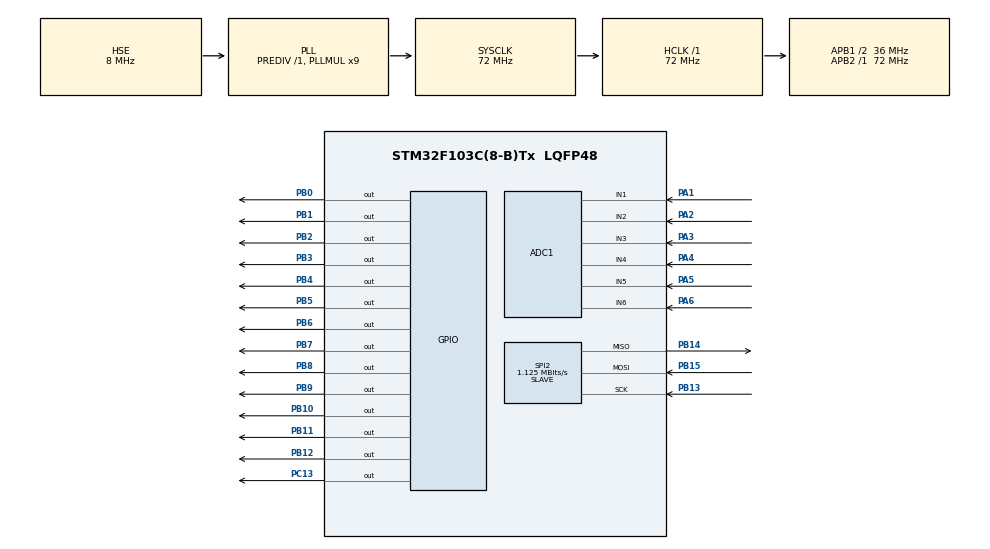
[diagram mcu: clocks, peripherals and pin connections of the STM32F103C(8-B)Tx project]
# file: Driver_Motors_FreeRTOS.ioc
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ADC1.Channel-1\#ChannelRegularConversion=ADC_CHANNEL_1
ADC1.Channel-2\#ChannelRegularConversion=ADC_CHANNEL_2
ADC1.Channel-3\#ChannelRegularConversion=ADC_CHANNEL_3
ADC1.Channel-4\#ChannelRegularConversion=ADC_CHANNEL_4
ADC1.Channel-5\#ChannelRegularConversion=ADC_CHANNEL_5
ADC1.Channel-6\#ChannelRegularConversion=ADC_CHANNEL_6
ADC1.ContinuousConvMode=ENABLE
ADC1.ExternalTrigConv=ADC_SOFTWARE_START
ADC1.NbrOfConversion=6
ADC1.NbrOfConversionFlag=1
ADC1.Rank-1\#ChannelRegularConversion=1
ADC1.Rank-2\#ChannelRegularConversion=2
ADC1.Rank-3\#ChannelRegularConversion=3
ADC1.Rank-4\#ChannelRegularConversion=4
ADC1.Rank-5\#ChannelRegularConversion=5
ADC1.Rank-6\#ChannelRegularConversion=6
ADC1.SamplingTime-1\#ChannelRegularConversion=ADC_SAMPLETIME_71CYCLES_5
ADC1.SamplingTime-2\#ChannelRegularConversion=ADC_SAMPLETIME_71CYCLES_5
ADC1.SamplingTime-3\#ChannelRegularConversion=ADC_SAMPLETIME_71CYCLES_5
ADC1.SamplingTime-4\#ChannelRegularConversion=ADC_SAMPLETIME_71CYCLES_5
ADC1.SamplingTime-5\#ChannelRegularConversion=ADC_SAMPLETIME_71CYCLES_5
ADC1.SamplingTime-6\#ChannelRegularConversion=ADC_SAMPLETIME_71CYCLES_5
ADC1.master=1
Dma.ADC1.0.Direction=DMA_PERIPH_TO_MEMORY
Dma.ADC1.0.Instance=DMA1_Channel1
Dma.ADC1.0.MemDataAlignment=DMA_MDATAALIGN_HALFWORD
Dma.ADC1.0.MemInc=DMA_MINC_ENABLE
Dma.ADC1.0.Mode=DMA_CIRCULAR
Dma.ADC1.0.PeriphDataAlignment=DMA_PDATAALIGN_HALFWORD
Dma.ADC1.0.PeriphInc=DMA_PINC_DISABLE
Dma.ADC1.0.Priority=DMA_PRIORITY_MEDIUM
Dma.Request0=ADC1
FREERTOS.INCLUDE_vTaskDelayUntil=1
FREERTOS.Tasks01=mainTask,0,256,StartHandControllerTask,Default,NULL,Dynamic,NULL,NULL;protocolTask,3,256,StartProtocolTask,Default,NULL,Dynamic,NULL,NULL
FREERTOS.configMINIMAL_STACK_SIZE=256
FREERTOS.configTOTAL_HEAP_SIZE=12000
FREERTOS.configUSE_TIMERS=0
Mcu.Family=STM32F1
Mcu.Name=STM32F103C(8-B)Tx
Mcu.Package=LQFP48
NVIC.DMA1_Channel1_IRQn=true\:5\:0\:false\:false\:true\:false\:false\:true
NVIC.PriorityGroup=NVIC_PRIORITYGROUP_4
NVIC.SPI2_IRQn=true\:5\:0\:true\:false\:true\:false\:true\:true
NVIC.TIM1_UP_IRQn=true\:0\:0\:false\:false\:true\:false\:false\:true
NVIC.TimeBase=TIM1_UP_IRQn
NVIC.TimeBaseIP=TIM1
PA1.Signal=ADCx_IN1
PA13.Mode=Serial_Wire
PA13.Signal=SYS_JTMS-SWDIO
PA14.Mode=Serial_Wire
PA14.Signal=SYS_JTCK-SWCLK
PA2.Signal=ADCx_IN2
PA3.Signal=ADCx_IN3
PA4.Signal=ADCx_IN4
PA5.Signal=ADCx_IN5
PA6.Signal=ADCx_IN6
PB0.GPIO_ModeDefaultOutputPP=GPIO_MODE_OUTPUT_PP
PB0.GPIO_PuPd=GPIO_PULLDOWN
PB0.GPIO_Speed=GPIO_SPEED_FREQ_LOW
PB0.PinState=GPIO_PIN_RESET
PB0.Signal=GPIO_Output
PB1.GPIO_ModeDefaultOutputPP=GPIO_MODE_OUTPUT_PP
PB1.GPIO_PuPd=GPIO_PULLDOWN
PB1.GPIO_Speed=GPIO_SPEED_FREQ_LOW
PB1.PinState=GPIO_PIN_RESET
PB1.Signal=GPIO_Output
PB10.GPIO_ModeDefaultOutputPP=GPIO_MODE_OUTPUT_PP
PB10.GPIO_PuPd=GPIO_PULLDOWN
PB10.GPIO_Speed=GPIO_SPEED_FREQ_LOW
PB10.PinState=GPIO_PIN_RESET
PB10.Signal=GPIO_Output
PB11.GPIO_ModeDefaultOutputPP=GPIO_MODE_OUTPUT_PP
PB11.GPIO_PuPd=GPIO_PULLDOWN
PB11.GPIO_Speed=GPIO_SPEED_FREQ_LOW
PB11.PinState=GPIO_PIN_RESET
PB11.Signal=GPIO_Output
PB12.Signal=GPIO_Output
PB13.GPIO_PuPd=GPIO_PULLDOWN
PB13.Mode=Full_Duplex_Slave
PB13.Signal=SPI2_SCK
PB14.Mode=Full_Duplex_Slave
PB14.Signal=SPI2_MISO
PB15.GPIO_PuPd=GPIO_PULLDOWN
PB15.Mode=Full_Duplex_Slave
PB15.Signal=SPI2_MOSI
PB2.GPIO_ModeDefaultOutputPP=GPIO_MODE_OUTPUT_PP
PB2.GPIO_PuPd=GPIO_PULLDOWN
PB2.GPIO_Speed=GPIO_SPEED_FREQ_LOW
PB2.PinState=GPIO_PIN_RESET
PB2.Signal=GPIO_Output
PB3.GPIO_ModeDefaultOutputPP=GPIO_MODE_OUTPUT_PP
PB3.GPIO_PuPd=GPIO_PULLDOWN
PB3.GPIO_Speed=GPIO_SPEED_FREQ_LOW
PB3.PinState=GPIO_PIN_RESET
PB3.Signal=GPIO_Output
PB4.GPIO_ModeDefaultOutputPP=GPIO_MODE_OUTPUT_PP
PB4.GPIO_PuPd=GPIO_PULLDOWN
PB4.GPIO_Speed=GPIO_SPEED_FREQ_LOW
PB4.PinState=GPIO_PIN_RESET
PB4.Signal=GPIO_Output
PB5.GPIO_ModeDefaultOutputPP=GPIO_MODE_OUTPUT_PP
PB5.GPIO_PuPd=GPIO_PULLDOWN
PB5.GPIO_Speed=GPIO_SPEED_FREQ_LOW
PB5.PinState=GPIO_PIN_RESET
PB5.Signal=GPIO_Output
PB6.GPIO_ModeDefaultOutputPP=GPIO_MODE_OUTPUT_PP
PB6.GPIO_PuPd=GPIO_PULLDOWN
PB6.GPIO_Speed=GPIO_SPEED_FREQ_LOW
PB6.PinState=GPIO_PIN_RESET
PB6.Signal=GPIO_Output
PB7.GPIO_ModeDefaultOutputPP=GPIO_MODE_OUTPUT_PP
PB7.GPIO_PuPd=GPIO_PULLDOWN
PB7.GPIO_Speed=GPIO_SPEED_FREQ_LOW
PB7.PinState=GPIO_PIN_RESET
PB7.Signal=GPIO_Output
PB8.GPIO_ModeDefaultOutputPP=GPIO_MODE_OUTPUT_PP
PB8.GPIO_PuPd=GPIO_PULLDOWN
PB8.GPIO_Speed=GPIO_SPEED_FREQ_LOW
PB8.PinState=GPIO_PIN_RESET
PB8.Signal=GPIO_Output
PB9.GPIO_ModeDefaultOutputPP=GPIO_MODE_OUTPUT_PP
PB9.GPIO_PuPd=GPIO_PULLDOWN
PB9.GPIO_Speed=GPIO_SPEED_FREQ_LOW
PB9.PinState=GPIO_PIN_RESET
PB9.Signal=GPIO_Output
PC13-TAMPER-RTC.Signal=GPIO_Output
PC14-OSC32_IN.Mode=LSE-External-Oscillator
PC14-OSC32_IN.Signal=RCC_OSC32_IN
PC15-OSC32_OUT.Mode=LSE-External-Oscillator
PC15-OSC32_OUT.Signal=RCC_OSC32_OUT
PD0-OSC_IN.Mode=HSE-External-Oscillator
PD0-OSC_IN.Signal=RCC_OSC_IN
PD1-OSC_OUT.Mode=HSE-External-Oscillator
PD1-OSC_OUT.Signal=RCC_OSC_OUT
ProjectManager.HeapSize=0x400
ProjectManager.StackSize=0x600
ProjectManager.TargetToolchain=STM32CubeIDE
RCC.ADCPresc=RCC_ADCPCLK2_DIV6
RCC.AHBFreq_Value=72000000
RCC.APB1CLKDivider=RCC_HCLK_DIV2
RCC.APB1Freq_Value=36000000
RCC.APB1TimFreq_Value=72000000
RCC.APB2Freq_Value=72000000
RCC.APB2TimFreq_Value=72000000
RCC.HCLKFreq_Value=72000000
RCC.PLLMUL=RCC_PLL_MUL9
RCC.PLLSourceVirtual=RCC_PLLSOURCE_HSE
RCC.SYSCLKFreq_VALUE=72000000
RCC.SYSCLKSource=RCC_SYSCLKSOURCE_PLLCLK
RCC.USBFreq_Value=72000000
SH.ADCx_IN1.0=ADC1_IN1,IN1
SH.ADCx_IN2.0=ADC1_IN2,IN2
SH.ADCx_IN3.0=ADC1_IN3,IN3
SH.ADCx_IN4.0=ADC1_IN4,IN4
SH.ADCx_IN5.0=ADC1_IN5,IN5
SH.ADCx_IN6.0=ADC1_IN6,IN6
SPI2.BaudRatePrescaler=SPI_BAUDRATEPRESCALER_32
SPI2.CalculateBaudRate=1.125 MBits/s
SPI2.Direction=SPI_DIRECTION_2LINES
SPI2.Mode=SPI_MODE_SLAVE
SPI2.VirtualType=VM_SLAVE
TIM2.Channel-Output\ Compare2\ No\ Output=TIM_CHANNEL_2
TIM2.Period=9999
TIM2.Prescaler=71
TIM2.Pulse-Output\ Compare2\ No\ Output=9999
VP_FREERTOS_VS_CMSIS_V1.Mode=CMSIS_V1
VP_SYS_VS_tim1.Mode=TIM1
VP_TIM2_VS_no_output2.Mode=Output Compare2 No Output
board=custom

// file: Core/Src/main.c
/* USER CODE BEGIN Header */
/**
  ******************************************************************************
  * @file           : main.c
  * @brief          : Main program body
  ******************************************************************************
  * @attention
  *
  * <h2><center>&copy; Copyright (c) 2020 STMicroelectronics.
  * All rights reserved.</center></h2>
  *
  * This software component is licensed by ST under BSD 3-Clause license,
  * the "License"; You may not use this file except in compliance with the
  * License. You may obtain a copy of the License at:
  *                        opensource.org/licenses/BSD-3-Clause
  *
  ******************************************************************************
  */
/* USER CODE END Header */
#include "main.h"
#include "cmsis_os.h"
#include "adc.h"
#include "dma.h"
#include "spi.h"
#include "tim.h"
#include "gpio.h"

void SystemClock_Config(void);
void MX_FREERTOS_Init(void);

int main(void)
{

  /* MCU Configuration--------------------------------------------------------*/

  /* Reset of all peripherals, Initializes the Flash interface and the Systick. */
  HAL_Init();

  /* Configure the system clock */
  SystemClock_Config();

  /* Initialize all configured peripherals */
  MX_GPIO_Init();
  MX_DMA_Init();
  MX_ADC1_Init();
  MX_SPI2_Init();
  MX_TIM2_Init();

  /* Call init function for freertos objects (in freertos.c) */
  MX_FREERTOS_Init();
  /* Start scheduler */
  osKernelStart();

  /* We should never get here as control is now taken by the scheduler */
  /* Infinite loop */
  while (1)
  {

  }
}

void SystemClock_Config(void)
{
  RCC_OscInitTypeDef RCC_OscInitStruct = {0};
  RCC_ClkInitTypeDef RCC_ClkInitStruct = {0};
  RCC_PeriphCLKInitTypeDef PeriphClkInit = {0};

  /** Initializes the RCC Oscillators according to the specified parameters
  * in the RCC_OscInitTypeDef structure.
  */
  RCC_OscInitStruct.OscillatorType = RCC_OSCILLATORTYPE_HSE;
  RCC_OscInitStruct.HSEState = RCC_HSE_ON;
  RCC_OscInitStruct.HSEPredivValue = RCC_HSE_PREDIV_DIV1;
  RCC_OscInitStruct.HSIState = RCC_HSI_ON;
  RCC_OscInitStruct.PLL.PLLState = RCC_PLL_ON;
  RCC_OscInitStruct.PLL.PLLSource = RCC_PLLSOURCE_HSE;
  RCC_OscInitStruct.PLL.PLLMUL = RCC_PLL_MUL9;
  if (HAL_RCC_OscConfig(&RCC_OscInitStruct) != HAL_OK)
  {
    Error_Handler();
  }
  /** Initializes the CPU, AHB and APB buses clocks
  */
  RCC_ClkInitStruct.ClockType = RCC_CLOCKTYPE_HCLK|RCC_CLOCKTYPE_SYSCLK
                              |RCC_CLOCKTYPE_PCLK1|RCC_CLOCKTYPE_PCLK2;
  RCC_ClkInitStruct.SYSCLKSource = RCC_SYSCLKSOURCE_PLLCLK;
  RCC_ClkInitStruct.AHBCLKDivider = RCC_SYSCLK_DIV1;
  RCC_ClkInitStruct.APB1CLKDivider = RCC_HCLK_DIV2;
  RCC_ClkInitStruct.APB2CLKDivider = RCC_HCLK_DIV1;

  if (HAL_RCC_ClockConfig(&RCC_ClkInitStruct, FLASH_LATENCY_2) != HAL_OK)
  {
    Error_Handler();
  }
  PeriphClkInit.PeriphClockSelection = RCC_PERIPHCLK_ADC;
  PeriphClkInit.AdcClockSelection = RCC_ADCPCLK2_DIV6;
  if (HAL_RCCEx_PeriphCLKConfig(&PeriphClkInit) != HAL_OK)
  {
    Error_Handler();
  }
}

 /**
  * @brief  Period elapsed callback in non blocking mode
  * @note   This function is called  when TIM1 interrupt took place, inside
  * HAL_TIM_IRQHandler(). It makes a direct call to HAL_IncTick() to increment
  * a global variable "uwTick" used as application time base.
  * @param  htim : TIM handle
  * @retval None
  */
void HAL_TIM_PeriodElapsedCallback(TIM_HandleTypeDef *htim)
{
  if (htim->Instance == TIM1) {
    HAL_IncTick();
  }
}

void Error_Handler(void)
{
}

/************************ (C) COPYRIGHT STMicroelectronics *****END OF FILE****/

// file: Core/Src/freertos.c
/* USER CODE BEGIN Header */
/**
 ******************************************************************************
 * File Name          : freertos.c
 * Description        : Code for freertos applications
 ******************************************************************************
 * @attention
 *
 * <h2><center>&copy; Copyright (c) 2020 STMicroelectronics.
 * All rights reserved.</center></h2>
 *
 * This software component is licensed by ST under Ultimate Liberty license
 * SLA0044, the "License"; You may not use this file except in compliance with
 * the License. You may obtain a copy of the License at:
 *                             www.st.com/SLA0044
 *
 ******************************************************************************
 */
/* USER CODE END Header */

#include "FreeRTOS.h"
#include "task.h"
#include "main.h"
#include "cmsis_os.h"

/* USER CODE BEGIN Includes */
#include "string.h"
#include "stdbool.h"
#include <stdio.h>
#include <stdlib.h>
#include "stdint.h"

#include "adc.h"
#include "dma.h"
#include "spi.h"
#include "tim.h"
#include "gpio.h"

#include "queue.h"
#include "semphr.h"

#include "crc8.h"
#include "hand_controller.h"
#include "feedback_reader.h"
/* USER CODE END Includes */

/* USER CODE BEGIN PTD */

/* Команды, которые протез может принимать по протоколу */
enum ProtocolCommand {
	/* Телеметрия устройства. Протез возвращает позиции пальцев в градусах и текущий режим. */
	Telemetry,

	/* Запрос установки позиций протеза. */
	SetPositions,

	/* Сохранения миимальных и максимальных позиций приводов. */
	CalibrationSettingsSave,

	/* Получение минимальных и максимальных позиций приводов. */
	CalibrationSettingsGet,

	/* Начать автоматическу калибровку */
	CalibrationStartAuto,

	/* Начать ручную калибровку протеза. Протез начинает отправку телеметрии TelemetryCalibration. */
	CalibrationStartManual,

	/* Остановить калибровку протеза. Протез начинает отправку телеметрии Telemetry. */
	CalibrationStop,

	/* Предыдущий запрос находится в обработке. Ответ еще не сформирован.
	 * Подобное состояние возможно, в случае если пришел запрос с SPI, но программа еще
	 * не успела сформировать на него ответ. В этом случае при запросе ответа мастером
	 * будет отправлено это состояние. */
	Busy
};

/* SPI протокол. */
typedef struct {
	enum ProtocolCommand Command;
	enum HandStateType CurrentRegime;
	uint8_t data[24];
	uint8_t CRC8;
} ProtocolStruct;

/* Телеметрия. */
typedef struct {
	enum HandStateType state;
	uint8_t littleFingerAnglePosition;
	uint8_t ringFingerAnglePosition;
	uint8_t middleFingerAnglePosition;
	uint8_t indexFingerAnglePosition;
	uint8_t thumbFingerAnglePosition;
	uint8_t thumbEjectorAnglePosition;
} ProtocolTelemetryStruct;
/* USER CODE END PTD */

/* USER CODE BEGIN Variables */

/* Основная конфигурация протеза для осуществления движений.
 * На ее основе работает вся прошивка МК. */
static HandStruct handConfig;

/* Очередь для установки новых положений протеза */
static QueueHandle_t newAnglePositionsQueue;

static SemaphoreHandle_t telemetrySemaphore;

/* Текущая телеметрия */
static ProtocolTelemetryStruct currentTelemetry;

/* ADC PV Variables */
volatile uint16_t ADC_Data[6];

/* SPI data receive */
/* Режим передачи по SPI. Если true, то передается порция команды
 * , если false, то передаются данные.*/
static bool isCommand = true;
/* Структура для приема запроса с мастера. */
static ProtocolStruct requestSpi;
/* Структура для отправки ответа Busy */
static ProtocolStruct responseBusySpi;
/* Структура для отправки ответа.  */
static ProtocolStruct responseSpi;
/* Заполнитель SPI шины нулями при отправке ответа. */
static uint8_t zeroBuffer[sizeof(ProtocolStruct)];
/* Буфер для приема заполнителя с master устройства */
static uint8_t trashBuffer[sizeof(ProtocolStruct)];
/* Очередь для приема по SPI */
static QueueHandle_t spiReceiveQueue;

/* USER CODE END Variables */
osThreadId mainTaskHandle;
osThreadId protocolTaskHandle;

/* USER CODE BEGIN FunctionPrototypes */

ProtocolStruct Protocol_Handle_Telemetry_Command();

ProtocolTelemetryStruct Protocol_Get_Telemetry();

void ProtocolParser();

/**
 * @brief Выполняет инициализацию буферов SPI и начинает прием.
 * @retval None.
 */
void Init_Spi();

/* USER CODE END FunctionPrototypes */

void StartHandControllerTask(void const *argument);
void StartProtocolTask(void const *argument);

void MX_FREERTOS_Init(void); /* (MISRA C 2004 rule 8.1) */

/* GetIdleTaskMemory prototype (linked to static allocation support) */
void vApplicationGetIdleTaskMemory(StaticTask_t **ppxIdleTaskTCBBuffer,
		StackType_t **ppxIdleTaskStackBuffer, uint32_t *pulIdleTaskStackSize);

/* USER CODE BEGIN GET_IDLE_TASK_MEMORY */
static StaticTask_t xIdleTaskTCBBuffer;
static StackType_t xIdleStack[configMINIMAL_STACK_SIZE];

void vApplicationGetIdleTaskMemory(StaticTask_t **ppxIdleTaskTCBBuffer,
		StackType_t **ppxIdleTaskStackBuffer, uint32_t *pulIdleTaskStackSize) {
	*ppxIdleTaskTCBBuffer = &xIdleTaskTCBBuffer;
	*ppxIdleTaskStackBuffer = &xIdleStack[0];
	*pulIdleTaskStackSize = configMINIMAL_STACK_SIZE;
	/* place for user code */
}
/* USER CODE END GET_IDLE_TASK_MEMORY */

void MX_FREERTOS_Init(void) {
	/* USER CODE BEGIN Init */
	HAL_ADC_Start_DMA(&hadc1, (uint32_t*) &ADC_Data, 6);
	Init_Spi();

	FeedbackReaderStruct littleFingerReader;
	FeedbackReader_Init(&littleFingerReader, (uint16_t*) &ADC_Data[5]);

	FeedbackReaderStruct ringFingerReader;
	FeedbackReader_Init(&ringFingerReader, (uint16_t*) &ADC_Data[4]);

	FeedbackReaderStruct middleFingerReader;
	FeedbackReader_Init(&middleFingerReader, (uint16_t*) &ADC_Data[3]);

	FeedbackReaderStruct indexFingerReader;
	FeedbackReader_Init(&indexFingerReader, (uint16_t*) &ADC_Data[2]);

	FeedbackReaderStruct thumbFingerReader;
	FeedbackReader_Init(&thumbFingerReader, (uint16_t*) &ADC_Data[1]);

	FeedbackReaderStruct thumbEjectorFingerReader;
	FeedbackReader_Init(&thumbEjectorFingerReader, (uint16_t*) &ADC_Data[0]);

	HandController_Init(&handConfig, littleFingerReader, ringFingerReader,
			middleFingerReader, indexFingerReader, thumbFingerReader,
			thumbEjectorFingerReader);

	/* USER CODE END Init */

	/* USER CODE BEGIN RTOS_SEMAPHORES */
	/* add semaphores, ... */
	telemetrySemaphore = xSemaphoreCreateMutex();
	if (telemetrySemaphore == NULL) {
		HandController_Error(&handConfig);
	}

	xSemaphoreGive(telemetrySemaphore);
	/* USER CODE END RTOS_SEMAPHORES */

	/* USER CODE BEGIN RTOS_QUEUES */
	/* add queues, ... */

	spiReceiveQueue = xQueueCreate(1, sizeof(ProtocolStruct));
	newAnglePositionsQueue = xQueueCreate(10, sizeof(HandAnglePositionsStruct));

	/* USER CODE END RTOS_QUEUES */

	/* Create the thread(s) */
	/* definition and creation of mainTask */
	osThreadDef(mainTask, StartHandControllerTask, osPriorityNormal, 0, 256);
	mainTaskHandle = osThreadCreate(osThread(mainTask), NULL);

	/* definition and creation of protocolTask */
	osThreadDef(protocolTask, StartProtocolTask, osPriorityRealtime, 0, 256);
	protocolTaskHandle = osThreadCreate(osThread(protocolTask), NULL);

}

void StartHandControllerTask(void const *argument) {
	/* USER CODE BEGIN StartHandControllerTask */
	/* Infinite loop */

	// Initialise the xLastWakeTime variable with the current time.
	TickType_t xLastWakeTime = xTaskGetTickCount();

	for (;;) {
		if (uxQueueMessagesWaiting(newAnglePositionsQueue) != 0) {
			HandAnglePositionsStruct newPositions;
			if (xQueueReceive(newAnglePositionsQueue, &newPositions,
					0) == pdTRUE) {
				HandController_SetAnglePositions(&handConfig, newPositions);
			}
		}

		HandController_UpdateFingers(&handConfig);
		HandController_UpdateState(&handConfig);

		// Обновляем текущую телеметрию устройства.
		HandAnglePositionsStruct anglePositions =
				HandController_GetAnglePositions(&handConfig);

		if (xSemaphoreTake(telemetrySemaphore, pdMS_TO_TICKS(1)) == pdTRUE) {
			currentTelemetry.state = handConfig.state;
			currentTelemetry.littleFingerAnglePosition =
					anglePositions.littleFingerAnglePosition;
			currentTelemetry.ringFingerAnglePosition =
					anglePositions.ringFingerAnglePosition;
			currentTelemetry.middleFingerAnglePosition =
					anglePositions.middleFingerAnglePosition;
			currentTelemetry.indexFingerAnglePosition =
					anglePositions.indexFingerAnglePosition;
			currentTelemetry.thumbFingerAnglePosition =
					anglePositions.thumbFingerAnglePosition;
			currentTelemetry.thumbEjectorAnglePosition =
					anglePositions.thumbEjectorAnglePosition;
			xSemaphoreGive(telemetrySemaphore);
		} else {
			HandController_Error(&handConfig);
		}

		vTaskDelayUntil(&xLastWakeTime, pdMS_TO_TICKS(1));
	}
	/* USER CODE END StartHandControllerTask */
}

void StartProtocolTask(void const *argument) {
	/* USER CODE BEGIN StartProtocolTask */
	/* Infinite loop */
	for (;;) {
		ProtocolParser();
	}
	/* USER CODE END StartProtocolTask */
}

/* USER CODE BEGIN Application */

void ProtocolParser() {
	ProtocolStruct receiveData;
	xQueueReceive(spiReceiveQueue, &receiveData, portMAX_DELAY);

	ProtocolStruct responseTelemetry = Protocol_Handle_Telemetry_Command();
	memcpy(&responseSpi, &responseTelemetry, sizeof(ProtocolStruct));
	//responseSpi.CurrentRegime = test;
	HAL_SPI_TransmitReceive_IT(&hspi2, (uint8_t*) &responseSpi, trashBuffer,
			sizeof(ProtocolStruct));

	switch (receiveData.Command) {
	case Telemetry: {
		// Телеметрия отправляется в любом случае.
		break;
	}
	case SetPositions: {
		HandAnglePositionsStruct newPositions;
		newPositions.littleFingerAnglePosition = receiveData.data[0];
		newPositions.ringFingerAnglePosition = receiveData.data[1];
		newPositions.middleFingerAnglePosition = receiveData.data[2];
		newPositions.indexFingerAnglePosition = receiveData.data[3];
		newPositions.thumbFingerAnglePosition = receiveData.data[4];
		newPositions.thumbEjectorAnglePosition = receiveData.data[5];

		if (xQueueSend(newAnglePositionsQueue, (void* )&newPositions,
				pdMS_TO_TICKS(3)) != pdPASS) {
			HandController_Error(&handConfig);
		}
		break;
	}
	case CalibrationSettingsSave:
		break;

	case CalibrationSettingsGet:
		break;

	case CalibrationStartAuto:
		break;

	case CalibrationStartManual:
		break;

	case CalibrationStop:
		break;

	default:
		break;
	}
}

void HAL_SPI_TxRxCpltCallback(SPI_HandleTypeDef *hspi) {
	if (hspi == &hspi2) {
		if (!hspi2.TxXferCount) {
			if (isCommand) {
				// Устанавливает ответом Busy по умолчанию.
				isCommand = false;

				ProtocolStruct copyRequest;
				memcpy(&copyRequest, &requestSpi, sizeof(ProtocolStruct));
				xQueueSendFromISR(spiReceiveQueue, &copyRequest, NULL);
			} else {
				isCommand = true;
				HAL_SPI_TransmitReceive_IT(&hspi2, zeroBuffer,
						(uint8_t*) &requestSpi, sizeof(ProtocolStruct));
			}
		}
	}
}

void Init_Spi() {
	memset(&responseBusySpi, 0, sizeof(ProtocolStruct));
	responseBusySpi.Command = Busy;
	responseBusySpi.CRC8 = calculate_crc8((unsigned char*) &responseSpi,
			sizeof(ProtocolStruct) - 1);
	HAL_SPI_TransmitReceive_IT(&hspi2, zeroBuffer, (uint8_t*) &requestSpi,
			sizeof(ProtocolStruct));
}

ProtocolStruct Protocol_Handle_Telemetry_Command() {
	ProtocolStruct responseData;
	memset(&responseData, 0, sizeof(ProtocolStruct));
	responseData.Command = Telemetry;

	ProtocolTelemetryStruct telemetry = Protocol_Get_Telemetry();
	memcpy(((uint8_t*) &responseData) + 1, (uint8_t*) &telemetry,
			sizeof(ProtocolTelemetryStruct));
	responseData.CRC8 = calculate_crc8((unsigned char*) &responseData,
			sizeof(ProtocolStruct) - 1);

	return responseData;
}

ProtocolTelemetryStruct Protocol_Get_Telemetry() {
	ProtocolTelemetryStruct telemetry;

	if (xSemaphoreTake(telemetrySemaphore, pdMS_TO_TICKS(1)) == pdTRUE) {
		memcpy(&telemetry, &currentTelemetry, sizeof(ProtocolTelemetryStruct));
		xSemaphoreGive(telemetrySemaphore);
	} else {
		HandController_Error(&handConfig);
		telemetry.state = HAND_STATE_ERROR;
	}

	return telemetry;
}

/**
 * @brief  This function is executed in case of error occurrence.
 * @retval None
 */
void Hand_Error_Handler(void) {
	//handConfig.currentMode = ErrorMode;
}

/* USER CODE END Application */

/************************ (C) COPYRIGHT STMicroelectronics *****END OF FILE****/
